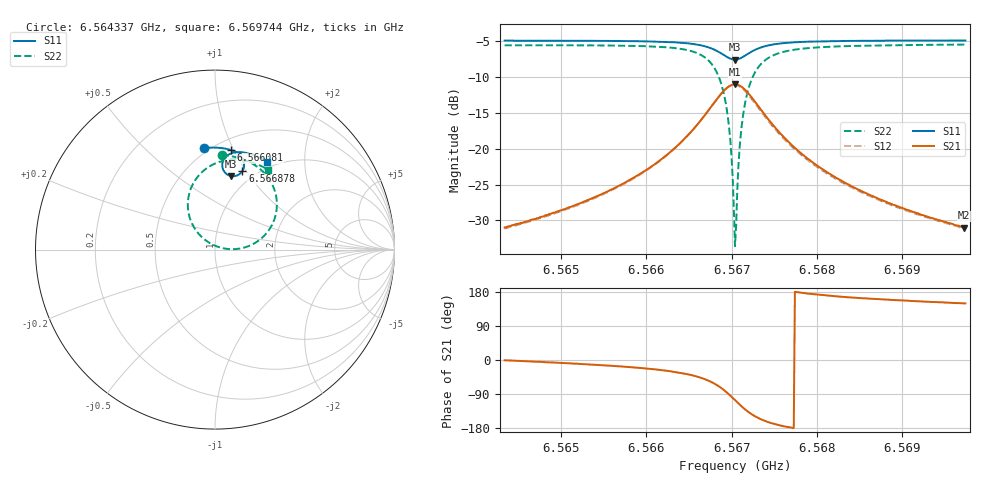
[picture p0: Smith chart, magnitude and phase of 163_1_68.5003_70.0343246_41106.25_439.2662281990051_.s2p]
#  HZ  S  RI  R  50.00
! Rohde & Schwarz Vector Network Analyzer
! Rohde-Schwarz,ZNB20-2Port,1311601062101988,3.16
! Created: UTC 3/20/2024, 4:55:52 PM
! freq[Hz]  re:S11  im:S11  re:S21  im:S21  re:S12  im:S12  re:S22  im:S22
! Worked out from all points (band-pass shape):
!   401 points, 6.564337 GHz to 6.569744 GHz, reference 50 ohm
!   highest |S21| = -11.00 dB at 6.56704 GHz (marker M1); lowest = -31.0 dB at 6.56973 GHz (marker M2)
!   |S21| within 3 dB of the highest: 6.566769 GHz to 6.567311 GHz (541.4 kHz wide, 0.00824 % of centre)
!   lowest |S11| = -7.5 dB at 6.56704 GHz (marker M3), VSWR 2.45, Z = 41.2 + j41 ohm
!   |S11| at or under -10 dB: nowhere
!   |S22| runs from -33.6 to -5.4 dB; largest |S21 - S12| = 0.013
!   S11 on the Smith chart (normalised r, x): 6.564337 GHz: 0.47, +0.78; 6.566081 GHz: 0.60, +0.97; 6.566878 GHz: 0.86, +0.96; 6.569744 GHz: 0.91, +1.32
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6.5643372e9  -0.064 0.5657  0.0282 -0.000399  0.0277 -0.00092  0.0371 0.5269
6.5652428e9  0.0102 0.5679  0.0413 -0.0077  0.0407 -0.00834  0.1234 0.5133
6.5660807e9  0.0887 0.5544  0.0698 -0.0315  0.0689 -0.0323  0.2332 0.4629
6.5661483e9  0.0959 0.5519  0.0738 -0.0359  0.0727 -0.0367  0.2448 0.4542
6.5666484e9  0.1541 0.5039  0.1084 -0.1184  0.1061 -0.1208  0.3414 0.2929
6.5667836e9  0.162 0.4697  0.101 -0.1783  0.0965 -0.1816  0.334 0.1788
6.5668782e9  0.1528 0.4381  0.0678 -0.2324  0.06 -0.2354  0.2743 0.0772
6.5669593e9  0.1269 0.4148  0.00666 -0.2701  -0.00456 -0.2702  0.1616 0.0109
6.5669863e9  0.1146 0.4104  -0.02 -0.2757  -0.0319 -0.274  0.113 0.00267
6.5670269e9  0.0946 0.4091  -0.0627 -0.2745  -0.0749 -0.2696  0.0369 0.00946
6.5670404e9  0.0878 0.4102  -0.077 -0.2712  -0.0886 -0.2652  0.0122 0.0169
6.5670539e9  0.0812 0.4121  -0.0907 -0.2666  -0.102 -0.2595  -0.0116 0.0268
6.5670674e9  0.0749 0.4146  -0.1038 -0.2604  -0.1146 -0.2525  -0.0339 0.0393
6.5670944e9  0.0636 0.4217  -0.1277 -0.2451  -0.137 -0.2354  -0.0733 0.0696
6.567135e9  0.0505 0.436  -0.1557 -0.2159  -0.1621 -0.2047  -0.1172 0.1248
6.567189e9  0.0416 0.4577  -0.1767 -0.1726  -0.1797 -0.1613  -0.1469 0.2031
6.5672566e9  0.0417 0.483  -0.1827 -0.1231  -0.1824 -0.1132  -0.1481 0.2901
6.5675134e9  0.0811 0.5324  -0.1378 -0.0252  -0.1348 -0.0213  -0.0455 0.4537
6.5679459e9  0.1417 0.543  -0.0804 0.0085  -0.0784 0.00969  0.0854 0.5005
6.5688515e9  0.2262 0.5226  -0.0389 0.015  -0.038 0.0154  0.2158 0.4825
6.56973e9  0.2911 0.4913  -0.0242 0.0143  -0.0238 0.0144  0.2933 0.4469
6.5697436e9  0.2922 0.4907  -0.0243 0.0143  -0.0236 0.0145  0.2942 0.4461
